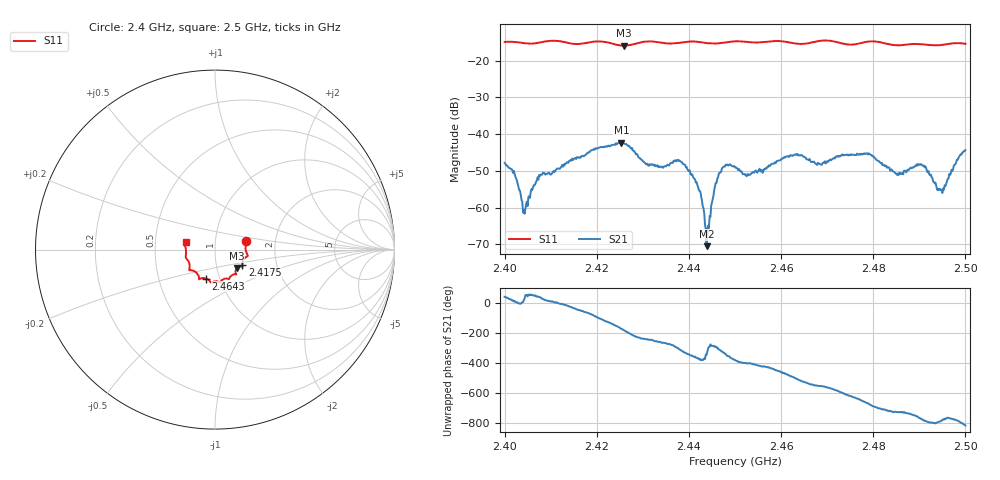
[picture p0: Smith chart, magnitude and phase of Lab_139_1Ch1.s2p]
# Hz S RI R 50
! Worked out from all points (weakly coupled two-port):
!   601 points, 2.4 GHz to 2.5 GHz, reference 50 ohm
!   highest |S21| = -42.33 dB at 2.4253 GHz (marker M1); lowest = -70.5 dB at 2.4438 GHz (marker M2)
!   lowest |S11| = -15.9 dB at 2.4258 GHz (marker M3), VSWR 1.38, Z = 62.3 - j13.2 ohm
!   |S11| at or under -10 dB: start of sweep to end of sweep
!   S12 and S22 are empty: the file has one direction only
!   S11 on the Smith chart (normalised r, x): 2.4 GHz: 1.41, +0.14; 2.4175 GHz: 1.34, -0.23; 2.4643 GHz: 0.86, -0.29; 2.5 GHz: 0.72, +0.06
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2.4e9  0.1727 0.0485  0.0032 0.00252  0 0  0 0
2.402167e9  0.1751 0.0393  0.00284 0.000522  0 0  0 0
2.4045e9  0.1709 0.0198  0.000645 0.000711  0 0  0 0
2.408e9  0.1771 -0.0202  0.00246 0.00138  0 0  0 0
2.416667e9  0.153 -0.0739  0.00275 -0.00415  0 0  0 0
2.4175e9  0.152 -0.0833  0.00233 -0.00462  0 0  0 0
2.425333e9  0.1252 -0.0998  -0.00762 -0.000667  0 0  0 0
2.425833e9  0.1216 -0.1032  -0.00748 0.000444  0 0  0 0
2.433333e9  0.1133 -0.1373  -0.000471 0.00355  0 0  0 0
2.439667e9  0.0794 -0.1621  0.00317 0.000965  0 0  0 0
2.442167e9  0.0737 -0.164  0.00167 -0.000414  0 0  0 0
2.443833e9  0.0647 -0.1613  0.000291 6.85e-05  0 0  0 0
2.446667e9  0.0428 -0.1673  0.00214 0.00209  0 0  0 0
2.45e9  0.0288 -0.1808  0.00329 -0.0014  0 0  0 0
2.453e9  0.0175 -0.178  0.00199 -0.0019  0 0  0 0
2.464333e9  -0.05 -0.1611  -0.00498 -0.00158  0 0  0 0
2.466667e9  -0.0759 -0.1594  -0.00417 0.000416  0 0  0 0
2.478833e9  -0.1403 -0.1151  0.00349 0.00398  0 0  0 0
2.483333e9  -0.1412 -0.0902  0.00354 -0.000131  0 0  0 0
2.490833e9  -0.1628 -0.0349  0.00157 -0.00334  0 0  0 0
2.494833e9  -0.1633 0.0078  0.000644 -0.00163  0 0  0 0
2.5e9  -0.1638 0.0431  -0.000965 -0.006  0 0  0 0
